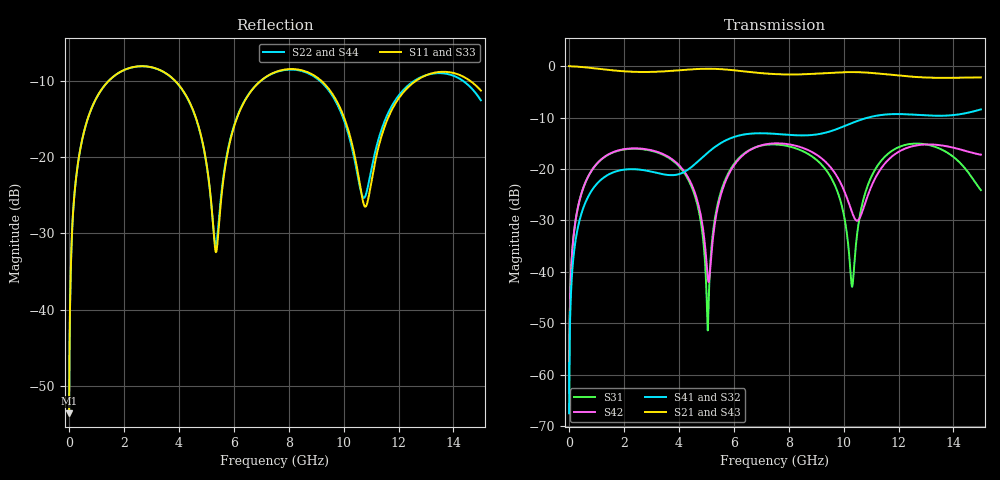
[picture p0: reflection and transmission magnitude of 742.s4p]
! Created with skrf 1.8.0 (http://scikit-rf.org).
# GHz S RI R 50.0
!freq ReS11 ImS11 ReS12 ImS12 ReS13 ImS13
! ReS14 ImS14
! ReS21 ImS21 ReS22 ImS22 ReS23 ImS23
! ReS24 ImS24
! ReS31 ImS31 ReS32 ImS32 ReS33 ImS33
! ReS34 ImS34
! ReS41 ImS41 ReS42 ImS42 ReS43 ImS43
! ReS44 ImS44
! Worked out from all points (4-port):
!   2499 points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, 5 MHz to 15 GHz, reference 50 ohm
!   strongest paths, dB at 5 MHz, 3.476 GHz, 7.19 GHz, 11.1 GHz, 15 GHz:
!     S21: 0.0, -1.0, -1.5, -1.4, -2.2
!     S43: 0.0, -1.0, -1.4, -1.4, -2.2
!     S41: -67.5, -21.1, -13.1, -9.7, -8.4
!     S32: -67.5, -21.1, -13.1, -9.7, -8.4
!     S42: -63.5, -17.2, -15.2, -22.4, -17.2
!     S31: -63.5, -17.4, -15.3, -20.6, -24.1
!   lowest |S11| = -53.5 dB at 5 MHz (marker M1), VSWR 1.00, Z = 50.2 + j0.128 ohm
!   |S11| at or under -10 dB: start of sweep to 1.456 GHz; 3.856 GHz to 6.996 GHz (3.14 GHz wide, 57.9 % of centre); 9.177 GHz to 12.65 GHz (3.471 GHz wide, 31.8 % of centre) (the widest 3 of 4)
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0.005  0.00167 0.00127  0.9983 -0.00326  8.41e-05 0.000662  -8.17e-05 -0.000415
       0.9983 -0.00326  0.00167 0.00127  -8.17e-05 -0.000415  8.41e-05 0.000662
       8.41e-05 0.000662  -8.17e-05 -0.000415  0.00167 0.00127  0.9983 -0.00326
       -8.17e-05 -0.000415  8.41e-05 0.000662  0.9983 -0.00326  0.00167 0.00127
0.3626511  0.0313 0.0952  0.9568 -0.233  0.0148 0.0446  -0.0123 -0.0274
           0.9568 -0.233  0.0313 0.0952  -0.0123 -0.0274  0.015 0.0445
           0.0148 0.0446  -0.0123 -0.0274  0.0313 0.0952  0.9568 -0.233
           -0.0123 -0.0274  0.015 0.0445  0.9568 -0.233  0.0313 0.0952
1.619545  0.2901 0.1695  0.5053 -0.754  0.1338 0.0569  -0.093 0.00137
          0.5053 -0.754  0.2894 0.1702  -0.0928 0.00117  0.136 0.0537
          0.1338 0.0569  -0.0928 0.00117  0.2903 0.1695  0.5053 -0.754
          -0.093 0.00137  0.136 0.0537  0.5053 -0.754  0.2893 0.1703
5.045852  0.0365 -0.0729  -0.9096 -0.2463  0.00272 -0.000771  -0.0316 0.1401
          -0.9096 -0.2463  0.0388 -0.0704  -0.0342 0.1394  -0.00808 -0.00477
          0.00272 -0.000771  -0.0342 0.1394  0.0353 -0.0738  -0.9095 -0.2465
          -0.0316 0.1401  -0.00808 -0.00477  -0.9095 -0.2465  0.0403 -0.0706
8.297207  0.3727 -0.0345  -0.00341 0.8299  0.137 -0.0777  0.2023 -0.0658
          -0.00341 0.8299  0.3693 -0.0313  0.2025 -0.0599  0.1364 -0.0967
          0.137 -0.0777  0.2025 -0.0599  0.3734 -0.0347  -0.00321 0.83
          0.2023 -0.0658  0.1364 -0.0967  -0.00321 0.83  0.3683 -0.0313
10.31055  0.0741 -0.0958  0.7968 0.3611  -0.00712 0.000794  0.104 -0.26
          0.7968 0.3611  0.0768 -0.0836  0.1133 -0.256  -0.0345 -0.0156
          -0.00712 0.000794  0.1133 -0.256  0.0721 -0.0982  0.7967 0.3611
          0.104 -0.26  -0.0345 -0.0156  0.7967 0.3611  0.0803 -0.0841
15  0.2421 -0.1241  -0.4732 -0.6158  -0.0514 -0.0354  -0.2947 0.239
    -0.4732 -0.6158  0.2094 -0.1064  -0.3065 0.2246  -0.1058 -0.0883
    -0.0514 -0.0354  -0.3065 0.2246  0.2388 -0.1211  -0.476 -0.6149
    -0.2947 0.239  -0.1058 -0.0883  -0.476 -0.6149  0.2069 -0.1055
